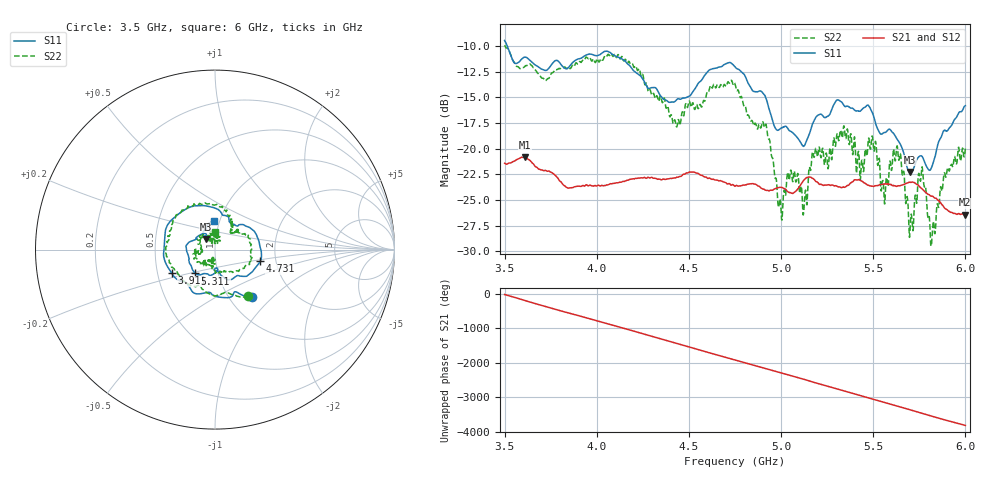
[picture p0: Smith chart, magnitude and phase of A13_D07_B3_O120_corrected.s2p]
! Created with skrf 1.9.0 (http://scikit-rf.org).
# Hz S RI R 50.0
!freq ReS11 ImS11 ReS21 ImS21 ReS12 ImS12 ReS22 ImS22
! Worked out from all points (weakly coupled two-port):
!   1601 points, 3.5 GHz to 6 GHz, reference 50 ohm
!   highest |S21| = -20.82 dB at 3.609 GHz (marker M1); lowest = -26.4 dB at 5.995 GHz (marker M2)
!   lowest |S11| = -22.3 dB at 5.7 GHz (marker M3), VSWR 1.17, Z = 45 + j5.31 ohm
!   |S11| at or under -10 dB: 3.514 GHz to end of sweep
!   |S22| runs from -29.5 to -9.9 dB; largest |S21 - S12| = 0.0011
!   S11 on the Smith chart (normalised r, x): 3.5 GHz: 1.26, -0.76; 3.911 GHz: 0.59, -0.17; 4.731 GHz: 1.65, -0.23; 5.311 GHz: 0.78, -0.21; 6 GHz: 0.93, +0.31
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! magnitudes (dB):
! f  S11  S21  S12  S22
! 3.5 GHz  -9.5  -21.4  -21.4  -9.9
! 3.609 GHz  -11.1  -20.8  -20.8  -12.0
! 3.911 GHz  -11.2  -23.7  -23.6  -11.6
! 3.917 GHz  -11.2  -23.6  -23.6  -11.5
! 4.334 GHz  -14.5  -23.0  -22.9  -15.3
! 4.442 GHz  -15.2  -22.8  -22.7  -17.2
! 4.731 GHz  -11.7  -23.5  -23.5  -13.4
! 4.75 GHz  -12.0  -23.7  -23.6  -13.7
! 4.912 GHz  -14.8  -24.0  -24.0  -17.9
! 4.995 GHz  -18.1  -23.8  -23.7  -24.9
! 5.045 GHz  -18.3  -24.3  -24.3  -23.0
! 5.13 GHz  -19.6  -23.0  -23.0  -24.3
! 5.167 GHz  -17.8  -22.9  -22.8  -20.8
! 5.311 GHz  -15.3  -23.7  -23.7  -19.1
! 5.584 GHz  -18.1  -23.5  -23.4  -22.7
! 5.639 GHz  -19.3  -23.6  -23.6  -21.1
! 5.7 GHz  -22.3  -23.3  -23.3  -27.8
! 5.758 GHz  -20.7  -23.8  -23.8  -23.0
! 5.823 GHz  -21.5  -24.6  -24.6  -27.5
! 5.894 GHz  -18.3  -25.9  -25.8  -22.8
! 5.995 GHz  -15.9  -26.4  -26.3  -20.7
! 6 GHz  -15.8  -26.4  -26.4  -19.9
